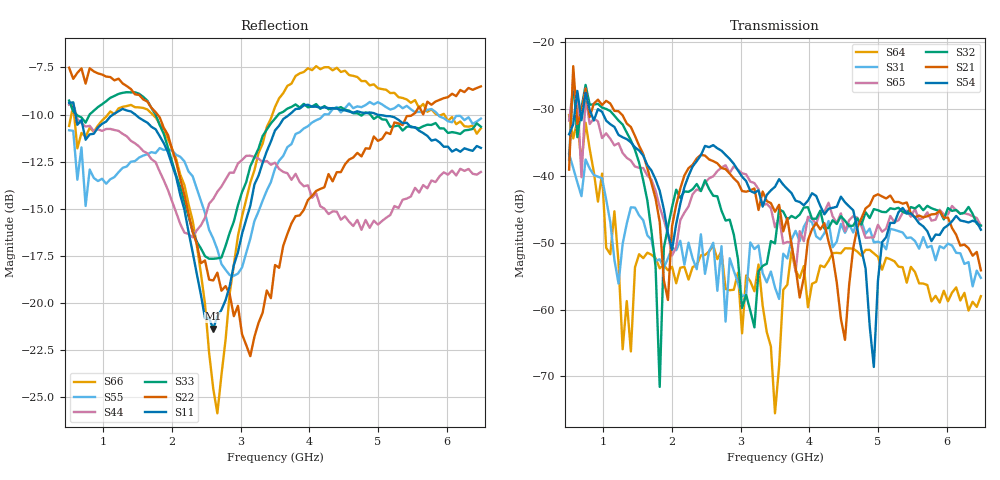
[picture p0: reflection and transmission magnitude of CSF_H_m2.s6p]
!Keysight Technologies,M9804A,MY58100912,A.14.10.03
!Date: Thursday, April 27, 2023 10:28:33
!Correction: S11(C  6-Port  )
!S12(C  6-Port  )
!S13(C  6-Port  )
!S14(C  6-Port  )
!S15(C  6-Port  )
!S16(C  6-Port  )
!S21(C  6-Port  )
!S22(C  6-Port  )
!S23(C  6-Port  )
!S24(C  6-Port  )
!S25(C  6-Port  )
!S26(C  6-Port  )
!S31(C  6-Port  )
!S32(C  6-Port  )
!S33(C  6-Port  )
!S34(C  6-Port  )
!S35(C  6-Port  )
!S36(C  6-Port  )
!S41(C  6-Port  )
!S42(C  6-Port  )
!S43(C  6-Port  )
!S44(C  6-Port  )
!S45(C  6-Port  )
!S46(C  6-Port  )
!S51(C  6-Port  )
!S52(C  6-Port  )
!S53(C  6-Port  )
!S54(C  6-Port  )
!S55(C  6-Port  )
!S56(C  6-Port  )
!S61(C  6-Port  )
!S62(C  6-Port  )
!S63(C  6-Port  )
!S64(C  6-Port  )
!S65(C  6-Port  )
!S66(C  6-Port  )
!S6P File: Measurement: :
# Hz S  RI  R 50
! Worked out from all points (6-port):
!   101 points, 500 MHz to 6.5 GHz, reference 50 ohm
!   strongest paths, dB at 500 MHz, 2 GHz, 3.5 GHz, 5 GHz, 6.5 GHz:
!     S54: -33.8, -51.0, -41.6, -55.7, -48.1
!     S21: -39.1, -47.5, -45.4, -42.8, -54.1
!     S32: -37.5, -44.7, -50.1, -45.1, -47.4
!     S65: -31.7, -51.9, -47.7, -47.3, -47.5
!     S31: -36.7, -50.7, -56.7, -49.9, -55.3
!     S64: -30.9, -53.6, -75.5, -52.1, -58.0
!   lowest |S11| = -21.4 dB at 2.6 GHz (marker M1), VSWR 1.19, Z = 42.4 + j2.29 ohm
!   |S11| at or under -10 dB: 592.6 MHz to 1.141 GHz (548.5 MHz wide, 63.3 % of centre); 1.465 GHz to 3.71 GHz (2.245 GHz wide, 86.8 % of centre); 4.99 GHz to end of sweep
